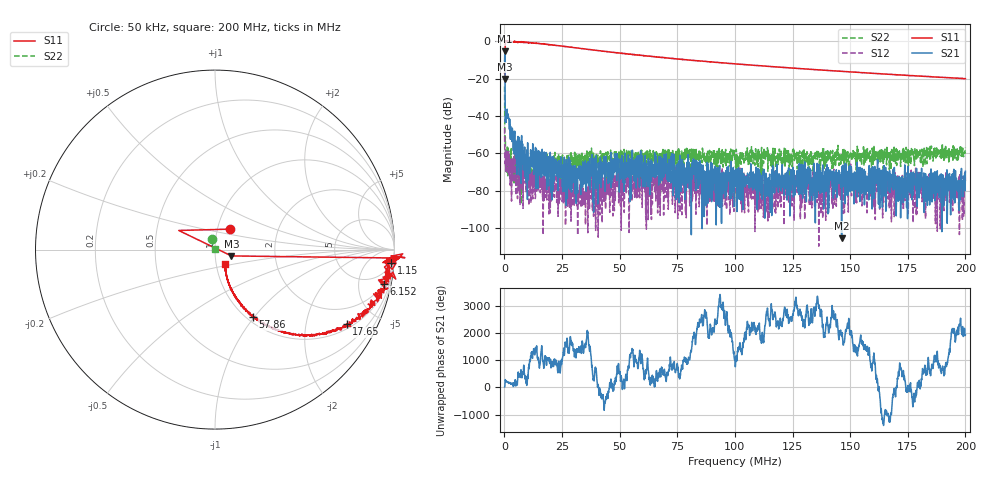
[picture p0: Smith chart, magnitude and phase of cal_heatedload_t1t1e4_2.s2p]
! 26-Feb-26 1:51:32 PM
! E:\VNA_MEASUREMENTS\CAL_S11\CAL_HEATEDLOAD_T1T1E4_2.S2P
! CHANNEL.1
! TR.MEASUREMENT
! CORRECTED.DATA
# GHZ S RI R 50.0
! FREQ.GHZ  S11RE  S11IM  S21RE  S21IM  S12RE  S12IM  S22RE  S22IM
!; PortSelection: Port_12
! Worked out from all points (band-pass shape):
!   2000 points, 50 kHz to 200 MHz, reference 50 ohm
!   highest |S21| = -5.23 dB at 150 kHz (marker M1); lowest = -105.6 dB at 146.3 MHz (marker M2)
!   |S21| within 3 dB of the highest: 93.63 kHz to 174.4 kHz (80.8 kHz wide, 60.3 % of centre)
!   lowest |S11| = -20.1 dB at 250 kHz (marker M3), VSWR 1.22, Z = 60 - j4.27 ohm
!   |S11| at or under -10 dB: start of sweep to 299.9 kHz; 79.54605 MHz to 79.59889 MHz (52.83 kHz wide, 0.0664 % of centre); 80.15 MHz to end of sweep (the widest 3 of 4)
!   |S22| runs from -87.0 to -24.2 dB; largest |S21 - S12| = 0.55
!   S11 on the Smith chart (normalised r, x): 50 kHz: 1.15, +0.27; 1.15 MHz: 5, -24; 6.152 MHz: 1.88, -9.55; 17.65 MHz: 1.19, -3.41; 57.86 MHz: 1.07, -0.98; 200 MHz: 1.10, -0.18
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5e-05  0.0837 0.114  0.283 0.0896  -0.00301 -0.00367  -0.0187 0.059
0.000150025  -0.202 0.1066  0.329 0.4379  -0.000686 -0.000165  -0.000576 -0.0039
0.00025005  0.0919 -0.0353  -0.1271 0.0392  -3.96e-05 -0.000522  0.000384 -0.00195
0.001150275  0.9806 -0.0767  -0.0125 -0.00861  -0.000427 -8.94e-05  -0.000282 0.00114
0.003150775  0.9761 -0.1635  -0.00411 0.00145  -0.00045 0.000548  -0.000117 0.000137
0.006151526  0.9421 -0.192  0.00104 0.00041  0.0001 1.88e-05  0.00051 -0.000809
0.009852451  0.8889 -0.2961  -0.00124 1.73e-05  0.000107 0.000143  1.91e-05 -0.000213
0.01315328  0.8197 -0.3551  -0.000436 0.000923  -0.000237 8.71e-05  0.00028 1.01e-05
0.0176544  0.7332 -0.4151  0.000401 7.96e-05  -6.52e-05 -5.8e-06  0.000549 0.000419
0.03345835  0.437 -0.4672  9.4e-05 -0.000193  0.000131 -6.59e-05  0.000951 2.47e-05
0.05786446  0.2121 -0.3741  0.000407 -0.000238  1.95e-05 6.38e-05  0.000899 0.000197
0.05986496  0.2064 -0.3631  0.000285 -0.00017  -0.00024 -0.000254  0.000862 0.000459
0.06216553  0.1932 -0.3546  -0.00024 -0.000358  -2.78e-05 -0.000124  0.000404 0.000563
0.06676668  0.1714 -0.3391  -0.000493 0.000127  -0.000156 -2.58e-05  0.000476 0.000172
0.100075  0.0957 -0.232  -0.000129 -2.73e-05  0.000103 -7.91e-05  0.000782 0.000432
0.1147787  0.0803 -0.1998  6.7e-05 6e-06  -1.93e-05 4.43e-05  0.000257 0.000869
0.1333833  0.0683 -0.1636  -4.69e-05 -5.86e-05  -4e-06 3.4e-05  0.000442 0.000244
0.1462866  0.0627 -0.144  7e-07 5.2e-06  1.91e-05 6.58e-05  0.000808 0.000388
0.1491873  0.0624 -0.14  3.61e-05 0.000158  -2.63e-05 1.7e-06  0.000521 0.00031
0.1666917  0.0586 -0.1171  0.0002 -6.77e-05  -5.76e-05 0.000151  0.000764 0.000675
0.1905976  0.0572 -0.092  -7.82e-05 -7.1e-06  -4.57e-05 -0.000148  0.000963 0.000593
0.2  0.0567 -0.0822  -0.000208 0.000255  4.48e-05 -0.000171  0.000891 0.00111
